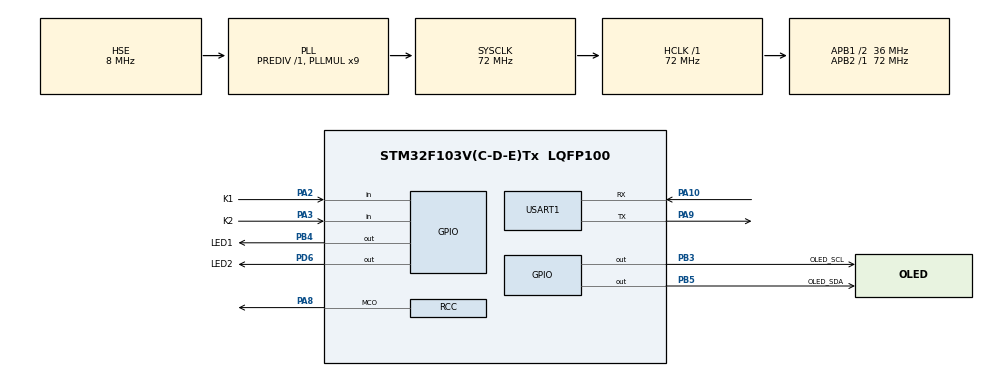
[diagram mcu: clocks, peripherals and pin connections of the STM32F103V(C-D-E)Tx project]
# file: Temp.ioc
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ADC1.Channel-0\#ChannelRegularConversion=ADC_CHANNEL_TEMPSENSOR
ADC1.NbrOfConversionFlag=1
ADC1.Rank-0\#ChannelRegularConversion=1
ADC1.SamplingTime-0\#ChannelRegularConversion=ADC_SAMPLETIME_1CYCLE_5
ADC1.master=1
Mcu.Family=STM32F1
Mcu.Name=STM32F103V(C-D-E)Tx
Mcu.Package=LQFP100
NVIC.PriorityGroup=NVIC_PRIORITYGROUP_4
NVIC.USART1_IRQn=true\:0\:0\:false\:false\:true\:true\:true\:true
OSC_IN.Mode=HSE-External-Oscillator
OSC_IN.Signal=RCC_OSC_IN
OSC_OUT.Mode=HSE-External-Oscillator
OSC_OUT.Signal=RCC_OSC_OUT
PA10.Mode=Asynchronous
PA10.Signal=USART1_RX
PA13.Mode=Serial_Wire
PA13.Signal=SYS_JTMS-SWDIO
PA14.Mode=Serial_Wire
PA14.Signal=SYS_JTCK-SWCLK
PA2.GPIO_Label=K1
PA2.Signal=GPIO_Input
PA3.GPIO_Label=K2
PA3.Signal=GPIO_Input
PA8.Mode=Clock-out
PA8.Signal=RCC_MCO
PA9.Mode=Asynchronous
PA9.Signal=USART1_TX
PB3.GPIO_Label=OLED_SCL
PB3.GPIO_PuPd=GPIO_NOPULL
PB3.GPIO_Speed=GPIO_SPEED_FREQ_HIGH
PB3.Signal=GPIO_Output
PB4.GPIO_Label=LED1
PB4.GPIO_ModeDefaultOutputPP=GPIO_MODE_OUTPUT_PP
PB4.GPIO_PuPd=GPIO_PULLUP
PB4.GPIO_Speed=GPIO_SPEED_FREQ_HIGH
PB4.PinState=GPIO_PIN_SET
PB4.Signal=GPIO_Output
PB5.GPIO_Label=OLED_SDA
PB5.GPIO_Speed=GPIO_SPEED_FREQ_HIGH
PB5.Signal=GPIO_Output
PC14-OSC32_IN.Mode=LSE-External-Oscillator
PC14-OSC32_IN.Signal=RCC_OSC32_IN
PC15-OSC32_OUT.Mode=LSE-External-Oscillator
PC15-OSC32_OUT.Signal=RCC_OSC32_OUT
PD6.GPIO_Label=LED2
PD6.GPIO_ModeDefaultOutputPP=GPIO_MODE_OUTPUT_PP
PD6.GPIO_PuPd=GPIO_PULLUP
PD6.GPIO_Speed=GPIO_SPEED_FREQ_HIGH
PD6.PinState=GPIO_PIN_SET
PD6.Signal=GPIO_Output
ProjectManager.HeapSize=0x200
ProjectManager.StackSize=0x400
ProjectManager.TargetToolchain=Makefile
RCC.ADCPresc=RCC_ADCPCLK2_DIV6
RCC.AHBFreq_Value=72000000
RCC.APB1CLKDivider=RCC_HCLK_DIV2
RCC.APB1Freq_Value=36000000
RCC.APB1TimFreq_Value=72000000
RCC.APB2Freq_Value=72000000
RCC.APB2TimFreq_Value=72000000
RCC.HCLKFreq_Value=72000000
RCC.PLLMUL=RCC_PLL_MUL9
RCC.PLLSourceVirtual=RCC_PLLSOURCE_HSE
RCC.RCC_MCOSource=RCC_MCO1SOURCE_PLLCLK
RCC.SYSCLKFreq_VALUE=72000000
RCC.SYSCLKSource=RCC_SYSCLKSOURCE_PLLCLK
RCC.USBFreq_Value=72000000
USART1.VirtualMode=VM_ASYNC
VP_ADC1_TempSens_Input.Mode=IN-TempSens
board=custom

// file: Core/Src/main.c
/* USER CODE BEGIN Header */
/**
  ******************************************************************************
  * @file           : main.c
  * @brief          : Main program body
  ******************************************************************************
  * @attention
  *
  * Copyright (c) 2025 STMicroelectronics.
  * All rights reserved.
  *
  * This software is licensed under terms that can be found in the LICENSE file
  * in the root directory of this software component.
  * If no LICENSE file comes with this software, it is provided AS-IS.
  *
  ******************************************************************************
  */
/* USER CODE END Header */
#include "main.h"

/* USER CODE BEGIN Includes */
#include "stdio.h"//printf函数
#include "oled.h"
#include "bmp.h"
#include "math.h"
#include "stdlib.h"
#include "usbd_cdc_if.h"
/* USER CODE END Includes */

/* USER CODE BEGIN PTD */
uint8_t rx_buff[100];  //接收缓存
uint8_t rx_done = 0; //接收完成标志
uint8_t rx_cnt = 0;//接收数据长度
/* USER CODE END PTD */

/* USER CODE BEGIN PD */
uint8_t fall_pot[128]; // 记录下落点的坐标
void OLED_Snow_Test(void);
void SnowLike(void);
void OLED_IIC_Test(void);
/* USER CODE END PD */

ADC_HandleTypeDef hadc1;

UART_HandleTypeDef huart1;

/* USER CODE BEGIN PV */
void FLASH_Inside_Wr(uint32_t addr, uint32_t Pdata);
uint32_t FLASH_Inside_Rd(uint32_t addr);
void FLASH_Inside_Test(void);

/* USER CODE END PV */

void SystemClock_Config(void);
static void MX_GPIO_Init(void);
static void MX_USART1_UART_Init(void);
static void MX_ADC1_Init(void);
/* USER CODE BEGIN PFP */
void Get_MCU_Info(void);
void Get_Temp(void);
/* USER CODE END PFP */

int main(void)
{

  /* MCU Configuration--------------------------------------------------------*/

  /* Reset of all peripherals, Initializes the Flash interface and the Systick. */
  HAL_Init();

  /* Configure the system clock */
  SystemClock_Config();

  /* Initialize all configured peripherals */
  MX_GPIO_Init();
  MX_USART1_UART_Init();
  MX_ADC1_Init();
  /* USER CODE BEGIN 2 */
 // HAL_Delay(1000);
 // Get_MCU_Info();
 OLED_IIC_Test();
  /* USER CODE END 2 */

  /* Infinite loop */
  while (1)
  {

    /* USER CODE BEGIN 3 */
    OLED_Snow_Test();
  }
  /* USER CODE END 3 */
}

void SystemClock_Config(void)
{
  RCC_OscInitTypeDef RCC_OscInitStruct = {0};
  RCC_ClkInitTypeDef RCC_ClkInitStruct = {0};
  RCC_PeriphCLKInitTypeDef PeriphClkInit = {0};

  /** Initializes the RCC Oscillators according to the specified parameters
  * in the RCC_OscInitTypeDef structure.
  */
  RCC_OscInitStruct.OscillatorType = RCC_OSCILLATORTYPE_HSE;
  RCC_OscInitStruct.HSEState = RCC_HSE_ON;
  RCC_OscInitStruct.HSEPredivValue = RCC_HSE_PREDIV_DIV1;
  RCC_OscInitStruct.HSIState = RCC_HSI_ON;
  RCC_OscInitStruct.PLL.PLLState = RCC_PLL_ON;
  RCC_OscInitStruct.PLL.PLLSource = RCC_PLLSOURCE_HSE;
  RCC_OscInitStruct.PLL.PLLMUL = RCC_PLL_MUL9;
  if (HAL_RCC_OscConfig(&RCC_OscInitStruct) != HAL_OK)
  {
    Error_Handler();
  }

  /** Initializes the CPU, AHB and APB buses clocks
  */
  RCC_ClkInitStruct.ClockType = RCC_CLOCKTYPE_HCLK|RCC_CLOCKTYPE_SYSCLK
                              |RCC_CLOCKTYPE_PCLK1|RCC_CLOCKTYPE_PCLK2;
  RCC_ClkInitStruct.SYSCLKSource = RCC_SYSCLKSOURCE_PLLCLK;
  RCC_ClkInitStruct.AHBCLKDivider = RCC_SYSCLK_DIV1;
  RCC_ClkInitStruct.APB1CLKDivider = RCC_HCLK_DIV2;
  RCC_ClkInitStruct.APB2CLKDivider = RCC_HCLK_DIV1;

  if (HAL_RCC_ClockConfig(&RCC_ClkInitStruct, FLASH_LATENCY_2) != HAL_OK)
  {
    Error_Handler();
  }
  PeriphClkInit.PeriphClockSelection = RCC_PERIPHCLK_ADC;
  PeriphClkInit.AdcClockSelection = RCC_ADCPCLK2_DIV6;
  if (HAL_RCCEx_PeriphCLKConfig(&PeriphClkInit) != HAL_OK)
  {
    Error_Handler();
  }
  HAL_RCC_MCOConfig(RCC_MCO, RCC_MCO1SOURCE_PLLCLK, RCC_MCODIV_1);
}

static void MX_ADC1_Init(void)
{

  ADC_ChannelConfTypeDef sConfig = {0};

  /** Common config
  */
  hadc1.Instance = ADC1;
  hadc1.Init.ScanConvMode = ADC_SCAN_DISABLE;
  hadc1.Init.ContinuousConvMode = DISABLE;
  hadc1.Init.DiscontinuousConvMode = DISABLE;
  hadc1.Init.ExternalTrigConv = ADC_SOFTWARE_START;
  hadc1.Init.DataAlign = ADC_DATAALIGN_RIGHT;
  hadc1.Init.NbrOfConversion = 1;
  if (HAL_ADC_Init(&hadc1) != HAL_OK)
  {
    Error_Handler();
  }

  /** Configure Regular Channel
  */
  sConfig.Channel = ADC_CHANNEL_TEMPSENSOR;
  sConfig.Rank = ADC_REGULAR_RANK_1;
  sConfig.SamplingTime = ADC_SAMPLETIME_1CYCLE_5;
  if (HAL_ADC_ConfigChannel(&hadc1, &sConfig) != HAL_OK)
  {
    Error_Handler();
  }

}

static void MX_USART1_UART_Init(void)
{

  huart1.Instance = USART1;
  huart1.Init.BaudRate = 115200;
  huart1.Init.WordLength = UART_WORDLENGTH_8B;
  huart1.Init.StopBits = UART_STOPBITS_1;
  huart1.Init.Parity = UART_PARITY_NONE;
  huart1.Init.Mode = UART_MODE_TX_RX;
  huart1.Init.HwFlowCtl = UART_HWCONTROL_NONE;
  huart1.Init.OverSampling = UART_OVERSAMPLING_16;
  if (HAL_UART_Init(&huart1) != HAL_OK)
  {
    Error_Handler();
  }
  /* USER CODE BEGIN USART1_Init 2 */
  //�??启接收中断，空闲中断
  __HAL_UART_ENABLE_IT(&huart1,UART_IT_IDLE|UART_IT_RXNE);
  /* USER CODE END USART1_Init 2 */

}

static void MX_GPIO_Init(void)
{
  GPIO_InitTypeDef GPIO_InitStruct = {0};

  /* GPIO Ports Clock Enable */
  __HAL_RCC_GPIOC_CLK_ENABLE();
  __HAL_RCC_GPIOA_CLK_ENABLE();
  __HAL_RCC_GPIOD_CLK_ENABLE();
  __HAL_RCC_GPIOB_CLK_ENABLE();

  /*Configure GPIO pin Output Level */
  HAL_GPIO_WritePin(LED2_GPIO_Port, LED2_Pin, GPIO_PIN_SET);

  /*Configure GPIO pin Output Level */
  HAL_GPIO_WritePin(GPIOB, OLED_SCL_Pin|OLED_SDA_Pin, GPIO_PIN_RESET);

  /*Configure GPIO pin Output Level */
  HAL_GPIO_WritePin(LED1_GPIO_Port, LED1_Pin, GPIO_PIN_SET);

  /*Configure GPIO pins : K1_Pin K2_Pin */
  GPIO_InitStruct.Pin = K1_Pin|K2_Pin;
  GPIO_InitStruct.Mode = GPIO_MODE_INPUT;
  GPIO_InitStruct.Pull = GPIO_NOPULL;
  HAL_GPIO_Init(GPIOA, &GPIO_InitStruct);

  /*Configure GPIO pin : PA8 */
  GPIO_InitStruct.Pin = GPIO_PIN_8;
  GPIO_InitStruct.Mode = GPIO_MODE_AF_PP;
  GPIO_InitStruct.Speed = GPIO_SPEED_FREQ_LOW;
  HAL_GPIO_Init(GPIOA, &GPIO_InitStruct);

  /*Configure GPIO pin : LED2_Pin */
  GPIO_InitStruct.Pin = LED2_Pin;
  GPIO_InitStruct.Mode = GPIO_MODE_OUTPUT_PP;
  GPIO_InitStruct.Pull = GPIO_PULLUP;
  GPIO_InitStruct.Speed = GPIO_SPEED_FREQ_HIGH;
  HAL_GPIO_Init(LED2_GPIO_Port, &GPIO_InitStruct);

  /*Configure GPIO pins : OLED_SCL_Pin OLED_SDA_Pin */
  GPIO_InitStruct.Pin = OLED_SCL_Pin|OLED_SDA_Pin;
  GPIO_InitStruct.Mode = GPIO_MODE_OUTPUT_PP;
  GPIO_InitStruct.Pull = GPIO_NOPULL;
  GPIO_InitStruct.Speed = GPIO_SPEED_FREQ_HIGH;
  HAL_GPIO_Init(GPIOB, &GPIO_InitStruct);

  /*Configure GPIO pin : LED1_Pin */
  GPIO_InitStruct.Pin = LED1_Pin;
  GPIO_InitStruct.Mode = GPIO_MODE_OUTPUT_PP;
  GPIO_InitStruct.Pull = GPIO_PULLUP;
  GPIO_InitStruct.Speed = GPIO_SPEED_FREQ_HIGH;
  HAL_GPIO_Init(LED1_GPIO_Port, &GPIO_InitStruct);

}

/* USER CODE BEGIN 4 */
#ifdef __GNUC__
#define PUTCHAR_PROTOTYPE int __io_putchar(int ch)
#else
#define PUTCHAR_PROTOTYPE int fputc(int ch,FILE *f)
#endif /* __GNUC__ */
//重定向printf函数
PUTCHAR_PROTOTYPE
{
    HAL_UART_Transmit(&huart1,(uint8_t *)&ch,1,HAL_MAX_DELAY);//输出指向串口USART1
    return ch;
}
/**
 * @brief �??内部FLASH写入数据
 * @param addr 写入地址
 * @param pdata 存储待写数据
 * @retval None
 */
void FLASH_Inside_Wr(uint32_t addr, uint32_t Pdata)
{
  // 定义�??部变�??
  uint32_t PageError = 0;
  HAL_StatusTypeDef HAL_Status;
  // 擦除配置信息结构体，包括擦除地址、方式�?�页数等
  FLASH_EraseInitTypeDef pEraseInit;
  pEraseInit.TypeErase = FLASH_TYPEERASE_PAGES; // 按页擦除
  pEraseInit.PageAddress = addr;                // 擦除地址
  pEraseInit.NbPages = 1;                       // 擦除页数�??
  // step1 解锁内部FLASH，允许读写功�??
  HAL_FLASH_Unlock();
  // step2 �??始擦除addr对应�??
  HAL_Status = HAL_FLASHEx_Erase(&pEraseInit, &PageError); // 擦除
  if (HAL_Status != HAL_OK)
    printf("内部FlASH擦除失败!\r\n");
  // step3 写入数据
  HAL_FLASH_Program(FLASH_TYPEPROGRAM_WORD, addr, Pdata);
  // step4 锁定FLASH
  HAL_FLASH_Lock();
}
/**
 * @brief 读取内部FLASH数据
 * @param addr 读取地址
 * @retval 读出的数�??
 */
uint32_t FLASH_Inside_Rd(uint32_t addr)
{
  // 定义�??部变�??
  uint32_t RdData = 0;
  // step1 解锁内部FLASH，允许读写功�??
  HAL_FLASH_Unlock();
  RdData = *(__IO uint32_t *)addr;
  // step2 锁定FLASH
  HAL_FLASH_Lock();

  return RdData;
}
/**
 * @brief 内部FLASH读写测试
 */
void FLASH_Inside_Test(void)
{
  printf("\r\n\r\n------------------on chip FLASH write/read test------------------\r\n\r\n");
  uint32_t addr = 0x08010000;   // 确保该地�??内部FLASH是空余的�??
  uint32_t WrData = 0x01234567; // 待写入数�??
  uint32_t RdData = 0;          // 存储读取数据

  printf("addr:0x%x write data:0x%x\r\n", addr, WrData);
  FLASH_Inside_Wr(addr, WrData);  // 写入数据
  RdData = FLASH_Inside_Rd(addr); // 读取数据
  printf("addr:0x%x  read data:0x%x\r\n", addr, RdData);
}
/**
 * @brief 获取MCU设备信息
 */
void Get_MCU_Info(void)
{
    printf("\r\n\r\n------------------get mcu information------------------\r\n\r\n");
    uint32_t  FLASH_Size_Addr = 0x1FFFF7E0;//FLASH大小存储地址
    //获取存储器大�??
    printf("FLASH  Size: %dKB\r\n",*(uint16_t *)FLASH_Size_Addr);
    //获取HAL版本
    uint32_t HALVer = HAL_GetHalVersion();
    printf("HAL Version: V%d.%d.%d\r\n",HALVer>>24,(HALVer>>16)&0xFF,(HALVer>>8)&0xFF);
   //获取保留ID�??
    printf("Revision ID: 0x%X\r\n",HAL_GetREVID());
    //获取全球唯一UID
    printf("Unique ID(UID): 0x%08X %08X %08X\r\n",HAL_GetUIDw0(),HAL_GetUIDw1(),HAL_GetUIDw2());

    //获取设备ID
    printf("Device ID or Chip ID or Product ID(PID): 0x%x\r\n",HAL_GetDEVID());

}
/**
  * @brief 读取内部温度传感�?
  */
 void Get_Temp(void)
 {
     uint32_t Temp;//温度采样分层�?
     float Vsense = 0.0;//温度采样电压�?
     float Temperature = 0.0;//温度�?
     //数据手册温度转换公式：T = ((V25-Vsense)/Avg_Slope) + 25
     float V25 = 1.43;//查阅手册获得
     float Avg_Slope = 0.0043;//4.3mV/摄氏�?
     printf("\r\n\r\n------------------MCU inside Temperature sensor------------------\r\n\r\n");
     //step1 启动ADC
     HAL_ADC_Start(&hadc1);
     //step2 温度采集转换
     HAL_ADC_PollForConversion(&hadc1,5);
     //step3 转换计算
     Temp = HAL_ADC_GetValue(&hadc1);//获取采样值分层�??
     Vsense = Temp *(3.3/4096);//采样精度12bit,�?大分层�??4096
     Temperature = ((V25-Vsense)/Avg_Slope) + 25;//按公式计算温度�??
     //step4 串口打印
     printf("Temp:%d\r\nVsense:%0.3f\r\nTemperature:%0.3f\r\n", (int)Temp, Vsense, Temperature);
     HAL_Delay(1000);
 }
 // 0.96 OLED测试
void OLED_IIC_Test(void)
{
  uint16_t ms = 1000;
  OLED_Init();       // 初始化OLED
  OLED_Clear();      // 清除屏幕
  OLED_Display_On(); // �??启OLED

  /*****************************************
   *
   *0.96 OLED 字符显示测试
   *
   *******************************************/
  OLED_ShowChar(0, 0, 'A', 16, 0);
  OLED_ShowChar(8, 0, 'B', 16, 0);
  OLED_ShowChar(16, 0, 'C', 16, 0);
  OLED_ShowChar(24, 0, 'D', 16, 0);

  OLED_ShowChar(0, 2, 'A', 8, 0);
  OLED_ShowChar(8, 2, 'B', 8, 0);
  OLED_ShowChar(16, 2, 'C', 8, 0);
  OLED_ShowChar(24, 2, 'D', 8, 0);

  OLED_ShowString(25, 6, "Char Test!", 16, 1);

  HAL_Delay(ms);
  OLED_Clear(); // 清除屏幕

  /*****************************************
   *
   *0.96 OLED 数字显示测试
   *
   *******************************************/

  OLED_ShowNum(0, 1, 12, 2, 16, 0);
  OLED_ShowNum(48, 1, 34, 2, 16, 0);
  OLED_ShowNum(96, 1, 56, 2, 16, 0);

  OLED_ShowString(25, 6, "Num Test!", 16, 1);

  HAL_Delay(ms);
  OLED_Clear(); // 清除屏幕

  /*****************************************
   *
   *0.96 OLED 中文显示测试
   *
   *******************************************/
  OLED_ShowCHinese(22, 3, 1, 0);      // �??
  OLED_ShowCHinese(22 + 16, 3, 2, 0); // �??
  OLED_ShowCHinese(22 + 32, 3, 3, 0); // �??
  OLED_ShowCHinese(22 + 48, 3, 4, 0); // �??
  OLED_ShowCHinese(22 + 64, 3, 5, 0); // �??

  OLED_ShowString(25, 6, "CHN Test!", 16, 1);

  HAL_Delay(ms);
  OLED_Clear(); // 清除屏幕

  /*****************************************
   *
   *0.96 OLED 字符串显示测�??
   *
   *******************************************/

  OLED_ShowString(0, 2, "Nebula-Pi,RYMCU!", 16, 0);
  OLED_ShowString(25, 6, "Str Test!", 16, 1);
  HAL_Delay(ms);
  OLED_Clear(); // 清除屏幕
  /*****************************************
   *
   *0.96 OLED 图片显示测试
   *
   *******************************************/

  OLED_DrawBMP(0, 0, Logo, 0); // 显示图片
  OLED_ShowString(25, 6, "PIC Test!", 16, 1);
  HAL_Delay(2000);
}
// 0.96 OLED测试
void OLED_Snow_Test(void)
{
  OLED_Init();       // 初始化OLED
  OLED_Clear();      // 清除屏幕
  OLED_Display_On(); // �?启OLED
  static u8 x, y;

  // 设置128列下落点的初始�?�，随机产生0-63之间的数�?
  for (int i = 0; i < 128; i++)
    fall_pot[i] = rand() % 64;

  while (1)
  {
    HAL_Delay(50);
    SnowLike();
  }
}

/*柱状显示*/
#define u_char unsigned char
void SnowLike(void)
{
  OLED_ClearGram();               // 清除屏幕
  for (u_char i = 0; i < 32; i++) // �?4列�?�一�?
  {
    // OLED_Fill(x,0,x+2,y+2,1);
    // 画下落的点，每次下落2个像素，�?4列�?�一个，保证雪花不至于太�?
    OLED_Fill(i * 4, fall_pot[i], i * 4 + 1, fall_pot[i] + 1, 1);
    if (fall_pot[i] >= 2)
      fall_pot[i] -= 2;
    else
      fall_pot[i] = 63;
  }
  OLED_Refresh_Gram(); // 重新填充屏幕
}
/* USER CODE END 4 */

void Error_Handler(void)
{
  __disable_irq();
  while (1)
  {
  }
}
